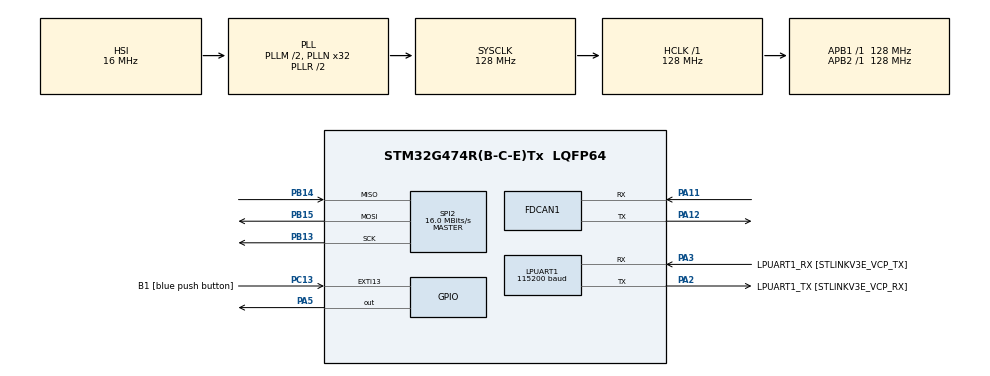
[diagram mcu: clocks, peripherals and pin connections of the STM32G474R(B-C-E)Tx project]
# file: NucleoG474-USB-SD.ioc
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FATFS.DISKIO_CODE=0
FDCAN1.ClockDivider=FDCAN_CLOCK_DIV2
FDCAN1.NominalPrescaler=40
FDCAN1.NominalTimeSeg1=13
LPUART1.BaudRate=115200
LPUART1.WordLength=UART_WORDLENGTH_8B
Mcu.Family=STM32G4
Mcu.Name=STM32G474R(B-C-E)Tx
Mcu.Package=LQFP64
NVIC.EXTI15_10_IRQn=true\:0\:0\:false\:true\:true\:2\:true\:true
NVIC.FDCAN1_IT0_IRQn=true\:0\:0\:false\:true\:true\:1\:true\:true
NVIC.PriorityGroup=NVIC_PRIORITYGROUP_4
NVIC.TIM1_TRG_COM_TIM17_IRQn=true\:0\:0\:false\:true\:true\:3\:true\:true
NVIC.TIM1_UP_TIM16_IRQn=true\:0\:0\:false\:true\:true\:4\:true\:true
PA11.Mode=FDCANMaster
PA11.Signal=FDCAN1_RX
PA12.Mode=FDCANMaster
PA12.Signal=FDCAN1_TX
PA13.GPIO_Label=T_SWDIO
PA13.Mode=Serial_Wire
PA13.Signal=SYS_JTMS-SWDIO
PA14.GPIO_Label=T_SWCLK
PA14.Mode=Serial_Wire
PA14.Signal=SYS_JTCK-SWCLK
PA2.GPIO_Label=LPUART1_TX [STLINKV3E_VCP_RX]
PA2.Mode=Asynchronous
PA2.Signal=LPUART1_TX
PA3.GPIO_Label=LPUART1_RX [STLINKV3E_VCP_TX]
PA3.Mode=Asynchronous
PA3.Signal=LPUART1_RX
PA5.Signal=GPIO_Output
PB13.Mode=Full_Duplex_Master
PB13.Signal=SPI2_SCK
PB14.Mode=Full_Duplex_Master
PB14.Signal=SPI2_MISO
PB15.Mode=Full_Duplex_Master
PB15.Signal=SPI2_MOSI
PB3.GPIO_Label=T_SWO
PB3.Signal=SYS_JTDO-SWO
PC13.GPIO_Label=B1 [blue push button]
PC13.Signal=GPXTI13
PC14-OSC32_IN.Mode=LSE-External-Oscillator
PC14-OSC32_IN.Signal=RCC_OSC32_IN
PC15-OSC32_OUT.Mode=LSE-External-Oscillator
PC15-OSC32_OUT.Signal=RCC_OSC32_OUT
PF0-OSC_IN.Mode=HSE-External-Oscillator
PF0-OSC_IN.Signal=RCC_OSC_IN
PF1-OSC_OUT.Mode=HSE-External-Oscillator
PF1-OSC_OUT.Signal=RCC_OSC_OUT
ProjectManager.HeapSize=0x200
ProjectManager.StackSize=0x400
ProjectManager.TargetToolchain=STM32CubeIDE
RCC.ADC12Freq_Value=128000000
RCC.ADC345Freq_Value=128000000
RCC.AHBFreq_Value=128000000
RCC.APB1Freq_Value=128000000
RCC.APB1TimFreq_Value=128000000
RCC.APB2Freq_Value=128000000
RCC.APB2TimFreq_Value=128000000
RCC.CortexFreq_Value=128000000
RCC.EXTERNAL_CLOCK_VALUE=12288000
RCC.HCLKFreq_Value=128000000
RCC.HSE_VALUE=24000000
RCC.HSI48_VALUE=48000000
RCC.HSI_VALUE=16000000
RCC.PLLM=RCC_PLLM_DIV2
RCC.PLLN=32
RCC.PLLQ=RCC_PLLQ_DIV6
RCC.RTCClockSelection=RCC_RTCCLKSOURCE_LSE
RCC.SYSCLKFreq_VALUE=128000000
RCC.SYSCLKSource=RCC_SYSCLKSOURCE_PLLCLK
RCC.USBFreq_Value=42666666.666666664
RCC.VCOOutputFreq_Value=256000000
SPI2.BaudRatePrescaler=SPI_BAUDRATEPRESCALER_8
SPI2.CLKPhase=SPI_PHASE_2EDGE
SPI2.CLKPolarity=SPI_POLARITY_HIGH
SPI2.CalculateBaudRate=16.0 MBits/s
SPI2.DataSize=SPI_DATASIZE_8BIT
SPI2.Direction=SPI_DIRECTION_2LINES
SPI2.Mode=SPI_MODE_MASTER
SPI2.VirtualType=VM_MASTER
TIM16.AutoReloadPreload=TIM_AUTORELOAD_PRELOAD_ENABLE
TIM16.PeriodNoDither=1
TIM16.Prescaler=127
TIM17.AutoReloadPreload=TIM_AUTORELOAD_PRELOAD_ENABLE
TIM17.PeriodNoDither=1
TIM17.Prescaler=63999
VP_FATFS_VS_Generic.Mode=User_defined
VP_RTC_VS_RTC_Activate.Mode=RTC_Enabled
VP_RTC_VS_RTC_Calendar.Mode=RTC_Calendar
VP_SYS_VS_DBSignals.Mode=DisableDeadBatterySignals
VP_TIM16_VS_ClockSourceINT.Mode=Enable_Timer
VP_TIM17_VS_ClockSourceINT.Mode=Enable_Timer
board=NUCLEO-G474RE

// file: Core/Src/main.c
/* USER CODE BEGIN Header */
/**
  ******************************************************************************
  * @file           : main.c
  * @brief          : Main program body
  ******************************************************************************
  * @attention
  *
  * <h2><center>&copy; Copyright (c) 2020 STMicroelectronics.
  * All rights reserved.</center></h2>
  *
  * This software component is licensed by ST under BSD 3-Clause license,
  * the "License"; You may not use this file except in compliance with the
  * License. You may obtain a copy of the License at:
  *                        opensource.org/licenses/BSD-3-Clause
  *
  ******************************************************************************
  */
/* USER CODE END Header */

#include "main.h"
#include "app_fatfs.h"
#include "fdcan.h"
#include "usart.h"
#include "rtc.h"
#include "spi.h"
#include "tim.h"
#include "gpio.h"

/* USER CODE BEGIN Includes */
#include "Sigma2_Def.h"
/* USER CODE END Includes */

/* USER CODE BEGIN PTD */
typedef union{
	uint8_t		Data8u[8];
	uint16_t	Data16u[4];
	int16_t		Data16[4];
}data_typedef;
/* USER CODE END PTD */

/* USER CODE BEGIN PV */
uint32_t chartotime(char* , uint8_t, uint8_t  );
int32_t chartocurr(char*, uint8_t, uint8_t );
FRESULT scrivi();
uint32_t PuntaeSepara(char*);
FRESULT leggi();
int32_t ProcessStatus = 0;
uint8_t ubKeyNumber = 0x0;
FDCAN_RxHeaderTypeDef RxHeader;
uint8_t RxData[8];
data_typedef rxData;
char buffer[100];
FDCAN_TxHeaderTypeDef TxHeader;
uint8_t TxData[8];
uint32_t id;
uint8_t DataSpi[8];
uint8_t readBuff[64];
uint8_t br;
int32_t curr;
uint32_t indice =0;
uint32_t time;
uint32_t indox=0;
uint8_t flag = 0;
uint8_t Time[3];
uint8_t Date[3];
RTC_TimeTypeDef stimeststuctureget;
RTC_DateTypeDef Data;
FATFS USERFatFs;    /* File system object for USER logical drive */
struct{
	int16_t Temp_0;
	int16_t Temp_1;
	int16_t Temp_2;
	int16_t Temp_3;
	int16_t Temp_4;
	int16_t Temp_5;
	int16_t Temp_6;
	int16_t Temp_7;
	int16_t Temp_8;
	int16_t Temp_9;
}Temp;
struct{
	int16_t Acc_x;
	int16_t Acc_y;
	int16_t Acc_z;
	int16_t Gir_x;
	int16_t Gir_y;
	int16_t T_a;
	int16_t T_g;
	int16_t T_b;
	uint32_t Pres;
	uint16_t Hum;
	uint16_t Responce_Time_millis;
	uint32_t Timer;
	uint8_t ID;
}Dati;
uint32_t ID = 0x00;
MS_typedef ms;
CS_typedef cs;
DS_typedef ds;
/* USER CODE END PV */

void SystemClock_Config(void);
static void MX_NVIC_Init(void);
/* USER CODE BEGIN PFP */
void Success_Handler(void);
void readSigmaData(void);
/* USER CODE END PFP */

int main(void)
{

  /* MCU Configuration--------------------------------------------------------*/

  /* Reset of all peripherals, Initializes the Flash interface and the Systick. */
  HAL_Init();

  /* Configure the system clock */
  SystemClock_Config();

  /* USER CODE BEGIN SysInit */

  /* Initialize the micro SD Card */
  if(MY_SD_Init(0) != BSP_ERROR_NONE){
	  Error_Handler();
  }
  /* USER CODE END SysInit */

  /* Initialize all configured peripherals */
  MX_GPIO_Init();
  MX_LPUART1_UART_Init();
  MX_SPI2_Init();
  if (MX_FATFS_Init() != APP_OK) {
    Error_Handler();
  }
  MX_FDCAN1_Init();
  MX_RTC_Init();
  MX_TIM16_Init();
  MX_TIM17_Init();

  /* Initialize interrupts */
  MX_NVIC_Init();
  /* USER CODE BEGIN 2 */
  TxHeader.Identifier = 0x0;
    TxHeader.IdType = FDCAN_EXTENDED_ID;
    TxHeader.TxFrameType = FDCAN_DATA_FRAME;
    TxHeader.DataLength = FDCAN_DLC_BYTES_8;
    TxHeader.ErrorStateIndicator = FDCAN_ESI_ACTIVE;
    TxHeader.BitRateSwitch = FDCAN_BRS_OFF;
    TxHeader.FDFormat = FDCAN_CLASSIC_CAN;
    TxHeader.TxEventFifoControl = FDCAN_NO_TX_EVENTS;
    TxHeader.MessageMarker = 0;
    TxData[0] = ubKeyNumber++;
    TxData[1] = 0xAD;
    TxData[2] = 0xDE;
    TxData[3] = 0xAD;
    TxData[4] = 0xBE;
    TxData[5] = 0xEF;
    TxData[6] = 0xFA;
    TxData[7] = 0xCE;
    uint16_t aug=3456;
    if (HAL_FDCAN_Start(&hfdcan1) != HAL_OK)
        {
          /* Start Error */
          Error_Handler();
        }

      if ( HAL_FDCAN_ActivateNotification(&hfdcan1, FDCAN_IT_RX_FIFO0_NEW_MESSAGE, 0) != HAL_OK)
        {
          /* Notification Error */
          Error_Handler();
        }

      uint8_t workBuffer[_MAX_SS];

      FIL USERFile,readFile,writeFile;       /* File  object for USER */
      char USERPath[4];   /* USER logical drive path */
      FRESULT res,res1; /* FatFs function common result code */
      uint8_t path1[] = "STM32.TXT";

      if(MY_SD_GetCardState(0) == BSP_ERROR_NONE){

    	  if(HAL_GPIO_ReadPin(B1_GPIO_Port,B1_Pin)==GPIO_PIN_SET){
    		  HAL_GPIO_WritePin(GPIOA, GPIO_PIN_5, GPIO_PIN_SET);
    		  res = f_mkfs(USERPath, FM_ANY, 0, workBuffer, sizeof(workBuffer));
    		  if (res != FR_OK){
    			  Error_Handler();
    		  }
    		  HAL_GPIO_WritePin(GPIOA, GPIO_PIN_5, GPIO_PIN_RESET);
    		  HAL_Delay(2000);
}

      }
      res = f_mount(&USERFatFs, (TCHAR const*)USERPath, 0);
      res = f_open(&writeFile, &path1, FA_CREATE_ALWAYS);
      res = f_close(&writeFile);
      if(flag == 0){
		  flag = 1;
		  MX_NVIC_Init();

		  HAL_TIM_Base_Start_IT(&htim17);
		  HAL_TIM_Base_Start_IT(&htim16);
	  }

  /* USER CODE END 2 */

  /* Infinite loop */
  /* USER CODE BEGIN WHILE */

  while (1){

	  /*ProcessStatus = MX_FATFS_Process();
	 Call middleware background task */
	/*if (ProcessStatus == APP_ERROR)
	{
	  Error_Handler();
	}
	else if (ProcessStatus == APP_OK)
	{
	  Success_Handler();
	}
*/

	/*if(MY_SD_GetCardState(0) == BSP_ERROR_NONE){
		//res = f_mkfs(USERPath, FM_ANY, 0, workBuffer, sizeof(workBuffer));

		if (res != FR_OK){
			Error_Handler();
		}/*
		uint32_t byteswritten, bytesread; /* File write/read counts
		uint8_t wtext[] = "This is STM32 working with FatFs and uSD diskio driver"; /* File write buffer */
		/*uint8_t rtext[100]; /* File read buffer */
		/*uint8_t path0[] = "current.TXT";

		/* Register the file system object to the FatFs module */
		//res = f_mount(&USERFatFs, (TCHAR const*)USERPath, 0);

		/*if(res == FR_OK){}
		else while(1);
		/* Create and Open a new text file object with write access */
		/*for(uint32_t  e=0;e<10;e++){

		res = f_open(&readFile, &path0, FA_READ );

		f_lseek(&readFile, indice);
		for(uint32_t  i=0;i<1;i++){
			BYTE readBuf[30];
			strncpy((char*)readBuf, "1616161616", 10);
			UINT bytesWrote;

			//res = f_write(&USERFile, readBuf, 10,&bytesWrote);

			res = f_read(&readFile,readBuff, 34, &br);
			indice =indice+ PuntaeSepara(readBuff);

			}

		res = f_close(&readFile);

		}
		HAL_Delay(50);
*/

	//}
	/*else{
		Error_Handler();
	}*/

		   /*if(HAL_FDCAN_AddMessageToTxFifoQ(&hfdcan1, &TxHeader, TxData) != HAL_OK)
		  	{
		  	  //Transmission request Error
		  	  Error_Handler();
		  	}*/
    /* USER CODE END WHILE */

  }
}

void SystemClock_Config(void)
{
  RCC_OscInitTypeDef RCC_OscInitStruct = {0};
  RCC_ClkInitTypeDef RCC_ClkInitStruct = {0};
  RCC_PeriphCLKInitTypeDef PeriphClkInit = {0};

  /** Configure the main internal regulator output voltage
  */
  HAL_PWREx_ControlVoltageScaling(PWR_REGULATOR_VOLTAGE_SCALE1);
  /** Configure LSE Drive Capability
  */
  HAL_PWR_EnableBkUpAccess();
  __HAL_RCC_LSEDRIVE_CONFIG(RCC_LSEDRIVE_LOW);
  /** Initializes the CPU, AHB and APB busses clocks
  */
  RCC_OscInitStruct.OscillatorType = RCC_OSCILLATORTYPE_HSI|RCC_OSCILLATORTYPE_LSE;
  RCC_OscInitStruct.LSEState = RCC_LSE_ON;
  RCC_OscInitStruct.HSIState = RCC_HSI_ON;
  RCC_OscInitStruct.HSICalibrationValue = RCC_HSICALIBRATION_DEFAULT;
  RCC_OscInitStruct.PLL.PLLState = RCC_PLL_ON;
  RCC_OscInitStruct.PLL.PLLSource = RCC_PLLSOURCE_HSI;
  RCC_OscInitStruct.PLL.PLLM = RCC_PLLM_DIV2;
  RCC_OscInitStruct.PLL.PLLN = 32;
  RCC_OscInitStruct.PLL.PLLP = RCC_PLLP_DIV2;
  RCC_OscInitStruct.PLL.PLLQ = RCC_PLLQ_DIV6;
  RCC_OscInitStruct.PLL.PLLR = RCC_PLLR_DIV2;
  if (HAL_RCC_OscConfig(&RCC_OscInitStruct) != HAL_OK)
  {
    Error_Handler();
  }
  /** Initializes the CPU, AHB and APB busses clocks
  */
  RCC_ClkInitStruct.ClockType = RCC_CLOCKTYPE_HCLK|RCC_CLOCKTYPE_SYSCLK
                              |RCC_CLOCKTYPE_PCLK1|RCC_CLOCKTYPE_PCLK2;
  RCC_ClkInitStruct.SYSCLKSource = RCC_SYSCLKSOURCE_PLLCLK;
  RCC_ClkInitStruct.AHBCLKDivider = RCC_SYSCLK_DIV1;
  RCC_ClkInitStruct.APB1CLKDivider = RCC_HCLK_DIV1;
  RCC_ClkInitStruct.APB2CLKDivider = RCC_HCLK_DIV1;

  if (HAL_RCC_ClockConfig(&RCC_ClkInitStruct, FLASH_LATENCY_6) != HAL_OK)
  {
    Error_Handler();
  }
  /** Initializes the peripherals clocks
  */
  PeriphClkInit.PeriphClockSelection = RCC_PERIPHCLK_RTC|RCC_PERIPHCLK_LPUART1
                              |RCC_PERIPHCLK_FDCAN;
  PeriphClkInit.Lpuart1ClockSelection = RCC_LPUART1CLKSOURCE_PCLK1;
  PeriphClkInit.FdcanClockSelection = RCC_FDCANCLKSOURCE_PCLK1;
  PeriphClkInit.RTCClockSelection = RCC_RTCCLKSOURCE_LSE;
  if (HAL_RCCEx_PeriphCLKConfig(&PeriphClkInit) != HAL_OK)
  {
    Error_Handler();
  }
}

/**
  * @brief NVIC Configuration.
  * @retval None
  */
static void MX_NVIC_Init(void)
{
  /* FDCAN1_IT0_IRQn interrupt configuration */
  HAL_NVIC_SetPriority(FDCAN1_IT0_IRQn, 0, 0);
  HAL_NVIC_EnableIRQ(FDCAN1_IT0_IRQn);
  /* EXTI15_10_IRQn interrupt configuration */
  HAL_NVIC_SetPriority(EXTI15_10_IRQn, 0, 0);
  HAL_NVIC_EnableIRQ(EXTI15_10_IRQn);
  /* TIM1_TRG_COM_TIM17_IRQn interrupt configuration */
  HAL_NVIC_SetPriority(TIM1_TRG_COM_TIM17_IRQn, 0, 0);
  HAL_NVIC_EnableIRQ(TIM1_TRG_COM_TIM17_IRQn);
  /* TIM1_UP_TIM16_IRQn interrupt configuration */
  HAL_NVIC_SetPriority(TIM1_UP_TIM16_IRQn, 0, 0);
  HAL_NVIC_EnableIRQ(TIM1_UP_TIM16_IRQn);
}

/* USER CODE BEGIN 4 */

void HAL_FDCAN_RxFifo0Callback(FDCAN_HandleTypeDef*hcan, uint32_t RxFifo0ITs){
	if(HAL_FDCAN_GetRxMessage(&hfdcan1,FDCAN_RX_FIFO0,&RxHeader,rxData.Data8u) != HAL_OK){
		/* Transmission request Error */
		Error_Handler();
	}
	ID = RxHeader.Identifier;
	readSigmaData();
    if(flag == 1){
    	scrivi();
    }

	HAL_GPIO_WritePin(GPIOA, GPIO_PIN_5, GPIO_PIN_SET);
}

void HAL_TIM_PeriodElapsedCallback(TIM_HandleTypeDef *htim)
{
    if (htim->Instance==TIM17) //check if the interrupt comes from TIM2
        {

        }
    if (htim->Instance==TIM16) //check if the interrupt comes from TIM2
            {
        	HAL_GPIO_TogglePin(GPIOA, GPIO_PIN_5);
        	leggi();
        	scrivi();
        	if(HAL_GPIO_ReadPin(B1_GPIO_Port,B1_Pin)==GPIO_PIN_SET)
        	{
        		HAL_Delay(10000);
        	}
            }
}

void readSigmaData(void){
	switch(ID){
	case MS:
			ms.MotorSpeed			= rxData.Data16u[0];
			ms.MotorCurrent			= rxData.Data16[1];
			ms.MotorVoltage			= rxData.Data8u[4];
			ms.BatteryVoltage		= rxData.Data8u[5];
			ms.BatteryCurrent		= rxData.Data16[4];
	break;
	case DS:
			ds.ActualTorque			= rxData.Data16[0];
			ds.ActualSpeed			= rxData.Data16[1];
			ds.DriveStatusIndicator	= rxData.Data8u[4] & 0x0F;
			ds.SpeedLimitIndicator	= rxData.Data8u[4] >> 4;
			ds.TorqueLimitIndicator	= rxData.Data8u[5] & 0x0F;
			ds.MotorLimitIndicator	= rxData.Data8u[5] >> 4;
			ds.FaultCode			= rxData.Data8u[6];
			ds.Code					= rxData.Data8u[7];
	break;
	case CS:
			cs.ControllerTemperature= rxData.Data8u[0];
			cs.MotorTemperature		= rxData.Data8u[1];
			cs.BDI					= rxData.Data8u[2];
			cs.FaultSubCode			= rxData.Data8u[3]<<8 | rxData.Data8u[4];
	break;
	}
}

void Success_Handler(void)
{
  //printf("** Success. ** \n\r");
  while(1)
  {
  }
}
uint32_t chartotime(char* buff,uint8_t off, uint8_t leng ){
	char str[8];
	for(int i=off;i<leng+off;i++){
    str[i]=buff[i];
	}
	return (uint32_t)atoi(str);
}
int32_t chartocurr(char* buff,uint8_t off, uint8_t leng ){
	char str[8];
	for(int i=0;i<leng;i++){
    str[i]=buff[i+off];
	}
	return (int32_t)atoi(str);
}
uint32_t PuntaeSepara(char* buff){
	uint8_t h;
	uint8_t e;
	for(h=0;h<64;h++){
		if(readBuff[h]==','){
			time=chartotime(readBuff,0,h);
			break;
		}
	}
	for(e=h;e<64;e++){
		if(readBuff[e]==0xd&&readBuff[e+1]==0xa){
			curr=chartocurr(readBuff,h+1,e-h);
			break;
		}
	}
	return (uint32_t)(e+2);//aggiungo i due caratteri di terminazione
}
FRESULT leggi(){
	FRESULT res;
	FIL readFile;       /* File  object for USER */
	   /* File system object for USER logical drive */
	//FIL USERFile;     /* File  object for USER */
	char USERPath[4];   /* USER logical drive path */
	uint8_t bytesWrote;
	uint8_t path1[] = "current.txt";
	res = f_open(&readFile, &path1, FA_READ);
	f_lseek(&readFile, indice);
	res = f_read(&readFile,readBuff, 34, &br);
	indice =indice+ PuntaeSepara(readBuff);
	res = f_close(&readFile);
	return res;

}
FRESULT scrivi(){
	FRESULT res;
	FIL writeFile;       /* File  object for USER */
	   /* File system object for USER logical drive */
	//FIL USERFile;     /* File  object for USER */
	char USERPath[4];   /* USER logical drive path */
	uint8_t bytesWrote;
	uint8_t path1[] = "STM32.TXT";
	//res1 = f_mount(&USERFatFs, (TCHAR const*)USERPath, 0);

	res = f_open(&writeFile, &path1, FA_CREATE_ALWAYS);
	res = f_close(&writeFile);
	res = f_open(&writeFile, &path1, FA_WRITE | FA_OPEN_ALWAYS);
	if(res==FR_OK) {
		f_lseek(&writeFile, indox);

		//res1 = f_write(&writeFile, readBuf, size, &bytesWrote);}
		HAL_RTC_GetTime(&hrtc, &stimeststuctureget, RTC_FORMAT_BIN);
		HAL_RTC_GetDate(&hrtc, &Data, RTC_FORMAT_BIN);
		Time[0] = stimeststuctureget.Hours;
		Time[1] = stimeststuctureget.Minutes;
		Time[2] = stimeststuctureget.Seconds;

		indox=indox+f_printf(&writeFile,"%d:%d.%d,%d,%d\n",Time[0],Time[1],Time[2],curr,cs.MotorTemperature);}
		res = f_close(&writeFile);

	return res;
}
/* USER CODE END 4 */

void Error_Handler(void)
{
  /* USER CODE BEGIN Error_Handler_Debug */
  /* User can add his own implementation to report the HAL error return state */
	//printf("** Error. ** \n\r");
	while(1)
	{
	}
  /* USER CODE END Error_Handler_Debug */
}

/************************ (C) COPYRIGHT STMicroelectronics *****END OF FILE****/
